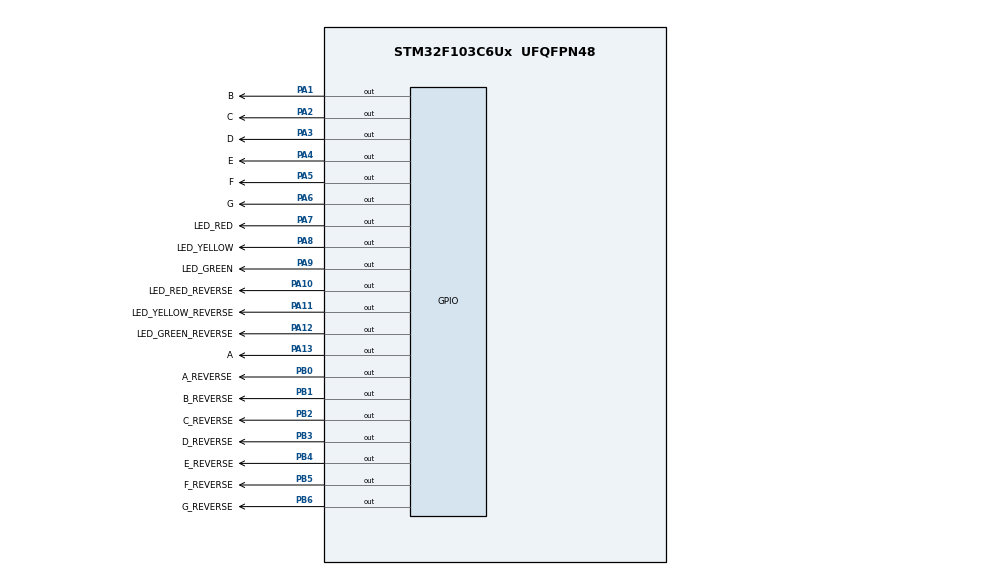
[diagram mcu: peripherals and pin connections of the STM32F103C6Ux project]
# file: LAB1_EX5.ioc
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Mcu.Family=STM32F1
Mcu.Name=STM32F103C6Ux
Mcu.Package=UFQFPN48
NVIC.PriorityGroup=NVIC_PRIORITYGROUP_4
PA1.GPIO_Label=B
PA1.Signal=GPIO_Output
PA10.GPIO_Label=LED_RED_REVERSE
PA10.Signal=GPIO_Output
PA11.GPIO_Label=LED_YELLOW_REVERSE
PA11.Signal=GPIO_Output
PA12.GPIO_Label=LED_GREEN_REVERSE
PA12.Signal=GPIO_Output
PA13.GPIO_Label=A
PA13.Signal=GPIO_Output
PA2.GPIO_Label=C
PA2.Signal=GPIO_Output
PA3.GPIO_Label=D
PA3.Signal=GPIO_Output
PA4.GPIO_Label=E
PA4.Signal=GPIO_Output
PA5.GPIO_Label=F
PA5.Signal=GPIO_Output
PA6.GPIO_Label=G
PA6.Signal=GPIO_Output
PA7.GPIO_Label=LED_RED
PA7.Signal=GPIO_Output
PA8.GPIO_Label=LED_YELLOW
PA8.Signal=GPIO_Output
PA9.GPIO_Label=LED_GREEN
PA9.Signal=GPIO_Output
PB0.GPIO_Label=A_REVERSE
PB0.Signal=GPIO_Output
PB1.GPIO_Label=B_REVERSE
PB1.Signal=GPIO_Output
PB2.GPIO_Label=C_REVERSE
PB2.Signal=GPIO_Output
PB3.GPIO_Label=D_REVERSE
PB3.Signal=GPIO_Output
PB4.GPIO_Label=E_REVERSE
PB4.Signal=GPIO_Output
PB5.GPIO_Label=F_REVERSE
PB5.Signal=GPIO_Output
PB6.GPIO_Label=G_REVERSE
PB6.Signal=GPIO_Output
ProjectManager.HeapSize=0x200
ProjectManager.StackSize=0x400
ProjectManager.TargetToolchain=STM32CubeIDE
RCC.APB1Freq_Value=8000000
RCC.APB2Freq_Value=8000000
VP_SYS_VS_ND.Mode=No_Debug
board=custom

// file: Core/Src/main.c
/* USER CODE BEGIN Header */
/**
  ******************************************************************************
  * @file           : main.c
  * @brief          : Main program body
  ******************************************************************************
  * @attention
  *
  * <h2><center>&copy; Copyright (c) 2025 STMicroelectronics.
  * All rights reserved.</center></h2>
  *
  * This software component is licensed by ST under BSD 3-Clause license,
  * the "License"; You may not use this file except in compliance with the
  * License. You may obtain a copy of the License at:
  *                        opensource.org/licenses/BSD-3-Clause
  *
  ******************************************************************************
  */
/* USER CODE END Header */
#include "main.h"

/* USER CODE BEGIN PV */
typedef enum {
  LED_RED,
  LED_GREEN,
  LED_YELLOW
} LedState;
LedState ledStateForward = LED_RED;
LedState ledStateReverse = LED_GREEN;
/* USER CODE END PV */

void SystemClock_Config(void);
static void MX_GPIO_Init(void);
/* USER CODE BEGIN PFP */
void resetLedForward(void);
void resetLedReverse(void);
void display7SEG(int num);
void display7SEG_reverse(int num);
void countdownBoth(int forwardTime, int reverseTime);
/* USER CODE END PFP */

/* USER CODE BEGIN 0 */

void display7SEG(int num) {
    switch (num) {
        case 0:
            HAL_GPIO_WritePin(A_GPIO_Port, A_Pin, GPIO_PIN_RESET);
            HAL_GPIO_WritePin(B_GPIO_Port, B_Pin, GPIO_PIN_RESET);
            HAL_GPIO_WritePin(C_GPIO_Port, C_Pin, GPIO_PIN_RESET);
            HAL_GPIO_WritePin(D_GPIO_Port, D_Pin, GPIO_PIN_RESET);
            HAL_GPIO_WritePin(E_GPIO_Port, E_Pin, GPIO_PIN_RESET);
            HAL_GPIO_WritePin(F_GPIO_Port, F_Pin, GPIO_PIN_RESET);
            HAL_GPIO_WritePin(G_GPIO_Port, G_Pin, GPIO_PIN_SET);
            break;

        case 1:
            HAL_GPIO_WritePin(A_GPIO_Port, A_Pin, GPIO_PIN_SET);
            HAL_GPIO_WritePin(B_GPIO_Port, B_Pin, GPIO_PIN_RESET);
            HAL_GPIO_WritePin(C_GPIO_Port, C_Pin, GPIO_PIN_RESET);
            HAL_GPIO_WritePin(D_GPIO_Port, D_Pin, GPIO_PIN_SET);
            HAL_GPIO_WritePin(E_GPIO_Port, E_Pin, GPIO_PIN_SET);
            HAL_GPIO_WritePin(F_GPIO_Port, F_Pin, GPIO_PIN_SET);
            HAL_GPIO_WritePin(G_GPIO_Port, G_Pin, GPIO_PIN_SET);
            break;

        case 2:
            HAL_GPIO_WritePin(A_GPIO_Port, A_Pin, GPIO_PIN_RESET);
            HAL_GPIO_WritePin(B_GPIO_Port, B_Pin, GPIO_PIN_RESET);
            HAL_GPIO_WritePin(C_GPIO_Port, C_Pin, GPIO_PIN_SET);
            HAL_GPIO_WritePin(D_GPIO_Port, D_Pin, GPIO_PIN_RESET);
            HAL_GPIO_WritePin(E_GPIO_Port, E_Pin, GPIO_PIN_RESET);
            HAL_GPIO_WritePin(F_GPIO_Port, F_Pin, GPIO_PIN_SET);
            HAL_GPIO_WritePin(G_GPIO_Port, G_Pin, GPIO_PIN_RESET);
            break;

        case 3:
            HAL_GPIO_WritePin(A_GPIO_Port, A_Pin, GPIO_PIN_RESET);
            HAL_GPIO_WritePin(B_GPIO_Port, B_Pin, GPIO_PIN_RESET);
            HAL_GPIO_WritePin(C_GPIO_Port, C_Pin, GPIO_PIN_RESET);
            HAL_GPIO_WritePin(D_GPIO_Port, D_Pin, GPIO_PIN_RESET);
            HAL_GPIO_WritePin(E_GPIO_Port, E_Pin, GPIO_PIN_SET);
            HAL_GPIO_WritePin(F_GPIO_Port, F_Pin, GPIO_PIN_SET);
            HAL_GPIO_WritePin(G_GPIO_Port, G_Pin, GPIO_PIN_RESET);
            break;

        case 4:
            HAL_GPIO_WritePin(A_GPIO_Port, A_Pin, GPIO_PIN_SET);
            HAL_GPIO_WritePin(B_GPIO_Port, B_Pin, GPIO_PIN_RESET);
            HAL_GPIO_WritePin(C_GPIO_Port, C_Pin, GPIO_PIN_RESET);
            HAL_GPIO_WritePin(D_GPIO_Port, D_Pin, GPIO_PIN_SET);
            HAL_GPIO_WritePin(E_GPIO_Port, E_Pin, GPIO_PIN_SET);
            HAL_GPIO_WritePin(F_GPIO_Port, F_Pin, GPIO_PIN_RESET);
            HAL_GPIO_WritePin(G_GPIO_Port, G_Pin, GPIO_PIN_RESET);
            break;

        case 5:
            HAL_GPIO_WritePin(A_GPIO_Port, A_Pin, GPIO_PIN_RESET);
            HAL_GPIO_WritePin(B_GPIO_Port, B_Pin, GPIO_PIN_SET);
            HAL_GPIO_WritePin(C_GPIO_Port, C_Pin, GPIO_PIN_RESET);
            HAL_GPIO_WritePin(D_GPIO_Port, D_Pin, GPIO_PIN_RESET);
            HAL_GPIO_WritePin(E_GPIO_Port, E_Pin, GPIO_PIN_SET);
            HAL_GPIO_WritePin(F_GPIO_Port, F_Pin, GPIO_PIN_RESET);
            HAL_GPIO_WritePin(G_GPIO_Port, G_Pin, GPIO_PIN_RESET);
            break;

        case 6:
            HAL_GPIO_WritePin(A_GPIO_Port, A_Pin, GPIO_PIN_RESET);
            HAL_GPIO_WritePin(B_GPIO_Port, B_Pin, GPIO_PIN_SET);
            HAL_GPIO_WritePin(C_GPIO_Port, C_Pin, GPIO_PIN_RESET);
            HAL_GPIO_WritePin(D_GPIO_Port, D_Pin, GPIO_PIN_RESET);
            HAL_GPIO_WritePin(E_GPIO_Port, E_Pin, GPIO_PIN_RESET);
            HAL_GPIO_WritePin(F_GPIO_Port, F_Pin, GPIO_PIN_RESET);
            HAL_GPIO_WritePin(G_GPIO_Port, G_Pin, GPIO_PIN_RESET);
            break;

        case 7:
            HAL_GPIO_WritePin(A_GPIO_Port, A_Pin, GPIO_PIN_RESET);
            HAL_GPIO_WritePin(B_GPIO_Port, B_Pin, GPIO_PIN_RESET);
            HAL_GPIO_WritePin(C_GPIO_Port, C_Pin, GPIO_PIN_RESET);
            HAL_GPIO_WritePin(D_GPIO_Port, D_Pin, GPIO_PIN_SET);
            HAL_GPIO_WritePin(E_GPIO_Port, E_Pin, GPIO_PIN_SET);
            HAL_GPIO_WritePin(F_GPIO_Port, F_Pin, GPIO_PIN_SET);
            HAL_GPIO_WritePin(G_GPIO_Port, G_Pin, GPIO_PIN_SET);
            break;

        case 8:
            HAL_GPIO_WritePin(A_GPIO_Port, A_Pin, GPIO_PIN_RESET);
            HAL_GPIO_WritePin(B_GPIO_Port, B_Pin, GPIO_PIN_RESET);
            HAL_GPIO_WritePin(C_GPIO_Port, C_Pin, GPIO_PIN_RESET);
            HAL_GPIO_WritePin(D_GPIO_Port, D_Pin, GPIO_PIN_RESET);
            HAL_GPIO_WritePin(E_GPIO_Port, E_Pin, GPIO_PIN_RESET);
            HAL_GPIO_WritePin(F_GPIO_Port, F_Pin, GPIO_PIN_RESET);
            HAL_GPIO_WritePin(G_GPIO_Port, G_Pin, GPIO_PIN_RESET);
            break;

        case 9:
            HAL_GPIO_WritePin(A_GPIO_Port, A_Pin, GPIO_PIN_RESET);
            HAL_GPIO_WritePin(B_GPIO_Port, B_Pin, GPIO_PIN_RESET);
            HAL_GPIO_WritePin(C_GPIO_Port, C_Pin, GPIO_PIN_RESET);
            HAL_GPIO_WritePin(D_GPIO_Port, D_Pin, GPIO_PIN_RESET);
            HAL_GPIO_WritePin(E_GPIO_Port, E_Pin, GPIO_PIN_SET);
            HAL_GPIO_WritePin(F_GPIO_Port, F_Pin, GPIO_PIN_RESET);
            HAL_GPIO_WritePin(G_GPIO_Port, G_Pin, GPIO_PIN_RESET);
            break;

        default:
            break;
    }
}

void resetLedForward(void) {
  HAL_GPIO_WritePin(LED_RED_GPIO_Port, LED_RED_Pin, GPIO_PIN_RESET);
  HAL_GPIO_WritePin(LED_GREEN_GPIO_Port, LED_GREEN_Pin, GPIO_PIN_RESET);
  HAL_GPIO_WritePin(LED_YELLOW_GPIO_Port, LED_YELLOW_Pin, GPIO_PIN_RESET);
}

void resetLedReverse(void) {
  HAL_GPIO_WritePin(LED_RED_REVERSE_GPIO_Port, LED_RED_REVERSE_Pin, GPIO_PIN_RESET);
  HAL_GPIO_WritePin(LED_GREEN_REVERSE_GPIO_Port, LED_GREEN_REVERSE_Pin, GPIO_PIN_RESET);
  HAL_GPIO_WritePin(LED_YELLOW_REVERSE_GPIO_Port, LED_YELLOW_REVERSE_Pin, GPIO_PIN_RESET);
}

void countdown7SEG(int seconds) {
    uint32_t startTick = HAL_GetTick();
    int current = seconds;

    display7SEG(current);

    while (current >= 0) {
        uint32_t now = HAL_GetTick();

        if (now - startTick >= 1000) {
            startTick += 1000;
            current--;
            if (current >= 0) {
                display7SEG(current);
            }
        }
    }
}

void delay_1s(void) {
    int startTick = HAL_GetTick();
    while (HAL_GetTick() - startTick < 1000) {
    }
}

/* USER CODE END 0 */

int main(void)
{

  /* MCU Configuration--------------------------------------------------------*/

  /* Reset of all peripherals, Initializes the Flash interface and the Systick. */
  HAL_Init();

  /* Configure the system clock */
  SystemClock_Config();

  /* Initialize all configured peripherals */
  MX_GPIO_Init();

  /* Infinite loop */
  /* USER CODE BEGIN WHILE */
  while (1)
    {
      switch (ledStateForward) {
        case LED_RED: {
          resetLedForward();
          resetLedReverse();
          HAL_GPIO_WritePin(LED_RED_GPIO_Port, LED_RED_Pin, GPIO_PIN_SET);
          HAL_GPIO_WritePin(LED_GREEN_REVERSE_GPIO_Port, LED_GREEN_REVERSE_Pin, GPIO_PIN_SET);
          display7SEG(4);
          delay_1s();
          display7SEG(3);
          delay_1s();
          display7SEG(2);
          delay_1s();

          resetLedReverse();
          HAL_GPIO_WritePin(LED_YELLOW_REVERSE_GPIO_Port, LED_YELLOW_REVERSE_Pin, GPIO_PIN_SET);
          display7SEG(1);
          delay_1s();
          display7SEG(0);
          delay_1s();

          ledStateForward = LED_GREEN;
          ledStateReverse = LED_RED;
          break;
        }
        case LED_GREEN: {
          resetLedForward();
          resetLedReverse();
          HAL_GPIO_WritePin(LED_GREEN_GPIO_Port, LED_GREEN_Pin, GPIO_PIN_SET);
          HAL_GPIO_WritePin(LED_RED_REVERSE_GPIO_Port, LED_RED_REVERSE_Pin, GPIO_PIN_SET);

          countdown7SEG(2);

          ledStateForward = LED_YELLOW;
          ledStateReverse = LED_RED;
          break;
        }
        case LED_YELLOW: {
          resetLedForward();
          resetLedReverse();
          HAL_GPIO_WritePin(LED_YELLOW_GPIO_Port, LED_YELLOW_Pin, GPIO_PIN_SET);
          HAL_GPIO_WritePin(LED_RED_REVERSE_GPIO_Port, LED_RED_REVERSE_Pin, GPIO_PIN_SET);

          countdown7SEG(1);

          ledStateForward = LED_RED;
          ledStateReverse = LED_GREEN;
          break;
        }
      }
    }
  /* USER CODE END 3 */
}

void SystemClock_Config(void)
{
  RCC_OscInitTypeDef RCC_OscInitStruct = {0};
  RCC_ClkInitTypeDef RCC_ClkInitStruct = {0};

  /** Initializes the RCC Oscillators according to the specified parameters
  * in the RCC_OscInitTypeDef structure.
  */
  RCC_OscInitStruct.OscillatorType = RCC_OSCILLATORTYPE_HSI;
  RCC_OscInitStruct.HSIState = RCC_HSI_ON;
  RCC_OscInitStruct.HSICalibrationValue = RCC_HSICALIBRATION_DEFAULT;
  RCC_OscInitStruct.PLL.PLLState = RCC_PLL_NONE;
  if (HAL_RCC_OscConfig(&RCC_OscInitStruct) != HAL_OK)
  {
    Error_Handler();
  }
  /** Initializes the CPU, AHB and APB buses clocks
  */
  RCC_ClkInitStruct.ClockType = RCC_CLOCKTYPE_HCLK|RCC_CLOCKTYPE_SYSCLK
                              |RCC_CLOCKTYPE_PCLK1|RCC_CLOCKTYPE_PCLK2;
  RCC_ClkInitStruct.SYSCLKSource = RCC_SYSCLKSOURCE_HSI;
  RCC_ClkInitStruct.AHBCLKDivider = RCC_SYSCLK_DIV1;
  RCC_ClkInitStruct.APB1CLKDivider = RCC_HCLK_DIV1;
  RCC_ClkInitStruct.APB2CLKDivider = RCC_HCLK_DIV1;

  if (HAL_RCC_ClockConfig(&RCC_ClkInitStruct, FLASH_LATENCY_0) != HAL_OK)
  {
    Error_Handler();
  }
}

static void MX_GPIO_Init(void)
{
  GPIO_InitTypeDef GPIO_InitStruct = {0};

  /* GPIO Ports Clock Enable */
  __HAL_RCC_GPIOA_CLK_ENABLE();
  __HAL_RCC_GPIOB_CLK_ENABLE();

  /*Configure GPIO pin Output Level */
  HAL_GPIO_WritePin(GPIOA, B_Pin|C_Pin|D_Pin|E_Pin
                          |F_Pin|G_Pin|LED_RED_Pin|LED_YELLOW_Pin
                          |LED_GREEN_Pin|LED_RED_REVERSE_Pin|LED_YELLOW_REVERSE_Pin|LED_GREEN_REVERSE_Pin
                          |A_Pin, GPIO_PIN_RESET);

  /*Configure GPIO pin Output Level */
  HAL_GPIO_WritePin(GPIOB, A_REVERSE_Pin|B_REVERSE_Pin|C_REVERSE_Pin|D_REVERSE_Pin
                          |E_REVERSE_Pin|F_REVERSE_Pin|G_REVERSE_Pin, GPIO_PIN_RESET);

  /*Configure GPIO pins : B_Pin C_Pin D_Pin E_Pin
                           F_Pin G_Pin LED_RED_Pin LED_YELLOW_Pin
                           LED_GREEN_Pin LED_RED_REVERSE_Pin LED_YELLOW_REVERSE_Pin LED_GREEN_REVERSE_Pin
                           A_Pin */
  GPIO_InitStruct.Pin = B_Pin|C_Pin|D_Pin|E_Pin
                          |F_Pin|G_Pin|LED_RED_Pin|LED_YELLOW_Pin
                          |LED_GREEN_Pin|LED_RED_REVERSE_Pin|LED_YELLOW_REVERSE_Pin|LED_GREEN_REVERSE_Pin
                          |A_Pin;
  GPIO_InitStruct.Mode = GPIO_MODE_OUTPUT_PP;
  GPIO_InitStruct.Pull = GPIO_NOPULL;
  GPIO_InitStruct.Speed = GPIO_SPEED_FREQ_LOW;
  HAL_GPIO_Init(GPIOA, &GPIO_InitStruct);

  /*Configure GPIO pins : A_REVERSE_Pin B_REVERSE_Pin C_REVERSE_Pin D_REVERSE_Pin
                           E_REVERSE_Pin F_REVERSE_Pin G_REVERSE_Pin */
  GPIO_InitStruct.Pin = A_REVERSE_Pin|B_REVERSE_Pin|C_REVERSE_Pin|D_REVERSE_Pin
                          |E_REVERSE_Pin|F_REVERSE_Pin|G_REVERSE_Pin;
  GPIO_InitStruct.Mode = GPIO_MODE_OUTPUT_PP;
  GPIO_InitStruct.Pull = GPIO_NOPULL;
  GPIO_InitStruct.Speed = GPIO_SPEED_FREQ_LOW;
  HAL_GPIO_Init(GPIOB, &GPIO_InitStruct);

}

void Error_Handler(void)
{
  __disable_irq();
  while (1)
  {
  }
}

/************************ (C) COPYRIGHT STMicroelectronics *****END OF FILE****/
